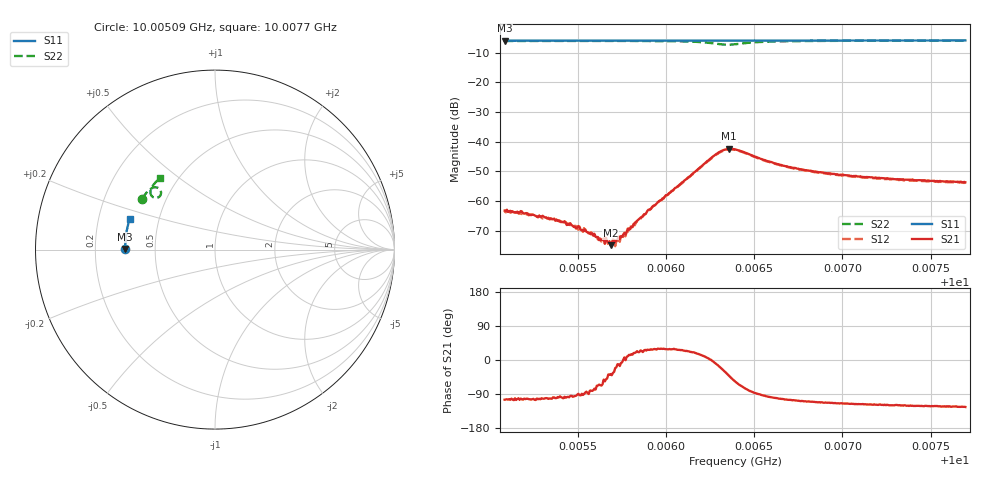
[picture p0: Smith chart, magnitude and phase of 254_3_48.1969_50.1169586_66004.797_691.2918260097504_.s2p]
#  HZ  S  RI  R  50.00
! Rohde & Schwarz Vector Network Analyzer
! Rohde-Schwarz,ZNB20-2Port,1311601062101988,3.16
! Created: UTC 3/20/2024, 11:47:29 AM
! freq[Hz]  re:S11  im:S11  re:S21  im:S21  re:S12  im:S12  re:S22  im:S22
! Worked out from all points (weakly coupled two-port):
!   401 points, 10.00509 GHz to 10.0077 GHz, reference 50 ohm
!   highest |S21| = -42.43 dB at 10.00636 GHz (marker M1); lowest = -74.9 dB at 10.00569 GHz (marker M2)
!   lowest |S11| = -6.0 dB at 10.00509 GHz (marker M3), VSWR 3.00, Z = 16.7 + j0.142 ohm
!   |S11| at or under -10 dB: nowhere
!   |S22| runs from -7.4 to -6.0 dB; largest |S21 - S12| = 0.00044
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1.0005087e10  -0.4997 0.0032  -0.000174 -0.000665  -0.000146 -0.000658  -0.4061 0.2831
1.0005295e10  -0.4999 0.017  -0.000103 -0.000535  -8.25e-05 -0.000515  -0.3979 0.2954
1.0005439e10  -0.4998 0.0262  -5.56e-05 -0.000389  -3.49e-05 -0.000418  -0.3919 0.304
1.0005524e10  -0.4995 0.0319  5.05e-06 -0.000323  -1.26e-06 -0.000319  -0.388 0.3091
1.0005628e10  -0.4994 0.0384  8.82e-05 -0.000201  9.9e-05 -0.000211  -0.383 0.3156
1.0005641e10  -0.4992 0.0394  9.66e-05 -0.000197  0.000111 -0.000206  -0.3823 0.3162
1.0005674e10  -0.4993 0.0415  0.000157 -0.000125  0.000135 -0.000142  -0.3805 0.3183
1.0005687e10  -0.4993 0.0424  0.000143 -0.000108  0.000157 -0.000111  -0.3796 0.3192
1.0005726e10  -0.499 0.0449  0.000221 -4.36e-05  0.000193 -8.87e-05  -0.3776 0.3217
1.0005733e10  -0.4991 0.0452  0.000245 -5.01e-05  0.00023 -3.59e-05  -0.3773 0.3221
1.0005772e10  -0.4989 0.0478  0.000273 -1.82e-06  0.00025 4.85e-05  -0.3749 0.3246
1.0005791e10  -0.4988 0.0491  0.000318 7.64e-05  0.000332 9.08e-05  -0.3739 0.3258
1.0005961e10  -0.4979 0.0601  0.000862 0.000492  0.000829 0.000523  -0.361 0.3371
1.0006274e10  -0.4951 0.0802  0.00578 -0.000646  0.00566 -0.000356  -0.3037 0.3304
1.000632e10  -0.4946 0.0829  0.00638 -0.00293  0.00638 -0.00259  -0.3012 0.3096
1.0006359e10  -0.4944 0.0852  0.00559 -0.00508  0.00573 -0.00469  -0.3124 0.2932
1.0006392e10  -0.4941 0.0871  0.0041 -0.00616  0.0043 -0.00584  -0.3274 0.2875
1.0006633e10  -0.4923 0.1026  -0.000796 -0.00409  -0.00061 -0.00409  -0.359 0.3297
1.0006829e10  -0.49 0.115  -0.00109 -0.003  -0.000959 -0.00298  -0.3505 0.35
1.0007057e10  -0.4868 0.1295  -0.00112 -0.00234  -0.00102 -0.00241  -0.3389 0.366
1.0007266e10  -0.4836 0.1426  -0.00117 -0.00207  -0.00101 -0.00209  -0.3283 0.3778
1.0007697e10  -0.4759 0.1691  -0.00115 -0.00171  -0.00105 -0.00175  -0.3063 0.3987
